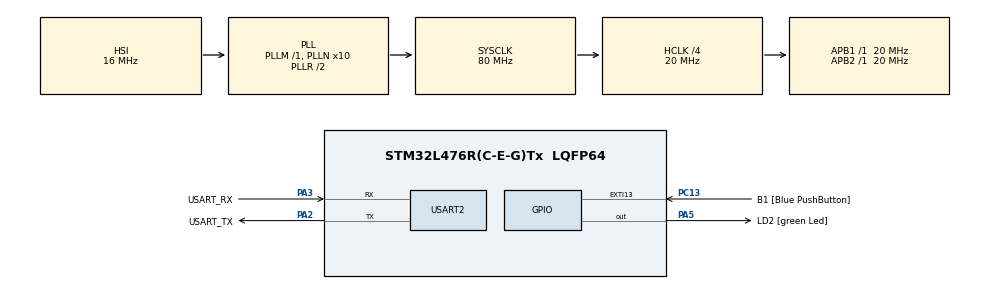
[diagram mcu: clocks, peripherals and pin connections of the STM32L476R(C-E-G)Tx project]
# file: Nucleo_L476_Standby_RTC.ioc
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Mcu.Family=STM32L4
RCC.MSI_VALUE=4000000
RCC.PLLSourceVirtual=RCC_PLLSOURCE_HSI
PA14\ (JTCK-SWCLK).Mode=Serial_Wire
PA2.GPIO_PuPd=GPIO_NOPULL
RCC.CortexFreq_Value=20000000
PH0-OSC_IN\ (PH0).Signal=RCC_OSC_IN
PC13.Signal=GPXTI13
PA3.GPIO_PuPd=GPIO_NOPULL
PA2.GPIO_Speed=GPIO_SPEED_FREQ_VERY_HIGH
VP_RTC_VS_RTC_Activate.Mode=RTC_Enabled
PC15-OSC32_OUT\ (PC15).Signal=RCC_OSC32_OUT
PC15-OSC32_OUT\ (PC15).Mode=LSE-External-Oscillator
PA14\ (JTCK-SWCLK).GPIO_Label=TCK
PB3\ (JTDO-TRACESWO).GPIO_Label=SWO
PC13.GPIO_Label=B1 [Blue PushButton]
PA3.GPIO_Speed=GPIO_SPEED_FREQ_VERY_HIGH
PH1-OSC_OUT\ (PH1).Signal=RCC_OSC_OUT
RCC.SYSCLKSource=RCC_SYSCLKSOURCE_PLLCLK
ProjectManager.StackSize=0x400
PB3\ (JTDO-TRACESWO).Signal=SYS_JTDO-SWO
PC14-OSC32_IN\ (PC14).Mode=LSE-External-Oscillator
PA14\ (JTCK-SWCLK).Signal=SYS_JTCK-SWCLK
PA3.Mode=Asynchronous
ProjectManager.TargetToolchain=STM32CubeIDE
PA3.GPIO_Mode=GPIO_MODE_AF_PP
RCC.HCLKFreq_Value=20000000
RCC.APB2TimFreq_Value=20000000
RCC.USBFreq_Value=64000000
RCC.AHBFreq_Value=20000000
RCC.PREFETCH_ENABLE=1
PA5.Signal=GPIO_Output
RCC.HSE_VALUE=8000000
board=NUCLEO-L476RG
USART2.VirtualMode-Asynchronous=VM_ASYNC
RCC.VCOOutputFreq_Value=160000000
RCC.APB2Freq_Value=20000000
PA5.GPIO_ModeDefaultOutputPP=GPIO_MODE_OUTPUT_PP
PA13\ (JTMS-SWDIO).GPIO_Label=TMS
PA5.GPIO_PuPd=GPIO_NOPULL
RCC.ADCFreq_Value=64000000
PC13.GPIO_PuPd=GPIO_NOPULL
RCC.AHBCLKDivider=RCC_SYSCLK_DIV4
Mcu.Name=STM32L476R(C-E-G)Tx
PA2.Signal=USART2_TX
PA13\ (JTMS-SWDIO).Mode=Serial_Wire
RCC.SYSCLKFreq_VALUE=80000000
Mcu.Package=LQFP64
PA5.GPIO_Label=LD2 [green Led]
PC13.GPIO_ModeDefaultEXTI=GPIO_MODE_IT_FALLING
PC14-OSC32_IN\ (PC14).Signal=RCC_OSC32_IN
PA2.GPIO_Label=USART_TX
ProjectManager.HeapSize=0x200
RCC.HSI_VALUE=16000000
PA5.GPIO_Speed=GPIO_SPEED_FREQ_LOW
NVIC.PriorityGroup=NVIC_PRIORITYGROUP_4
RCC.PLLN=10
RCC.APB1TimFreq_Value=20000000
PA2.Mode=Asynchronous
PA13\ (JTMS-SWDIO).Signal=SYS_JTMS-SWDIO
RCC.APB1Freq_Value=20000000
PA3.GPIO_Label=USART_RX
PA3.Signal=USART2_RX
PA2.GPIO_Mode=GPIO_MODE_AF_PP

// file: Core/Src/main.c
/* USER CODE BEGIN Header */
/**
  ******************************************************************************
  * @file           : main.c
  * @brief          : Main program body
  ******************************************************************************
  * @attention
  *
  * <h2><center>&copy; Copyright (c) 2021 STMicroelectronics.
  * All rights reserved.</center></h2>
  *
  * This software component is licensed by ST under BSD 3-Clause license,
  * the "License"; You may not use this file except in compliance with the
  * License. You may obtain a copy of the License at:
  *                        opensource.org/licenses/BSD-3-Clause
  *
  ******************************************************************************
  */
/* USER CODE END Header */
#include "main.h"

/* USER CODE BEGIN Includes */
#include <string.h>
#include <stdio.h>
/* USER CODE END Includes */

RTC_HandleTypeDef hrtc;

UART_HandleTypeDef huart2;

/* USER CODE BEGIN PV */
uint8_t ram_test = 0;
RTC_TimeTypeDef sTime1;
RTC_DateTypeDef sDate1;
/* USER CODE END PV */

void SystemClock_Config(void);
static void MX_GPIO_Init(void);
static void MX_USART2_UART_Init(void);
static void MX_RTC_Init(void);
/* USER CODE BEGIN PFP */
void start_RTC_date(RTC_HandleTypeDef *hrtc, RTC_TimeTypeDef *sTime, RTC_DateTypeDef *sDate);
void tx_RTC_date(RTC_HandleTypeDef *hrtc, RTC_TimeTypeDef *sTime, RTC_DateTypeDef *sDate);
/* USER CODE END PFP */

int main(void)
{

  /* MCU Configuration--------------------------------------------------------*/

  /* Reset of all peripherals, Initializes the Flash interface and the Systick. */
  HAL_Init();

  /* Configure the system clock */
  SystemClock_Config();

  /* Initialize all configured peripherals */
  MX_GPIO_Init();
  MX_USART2_UART_Init();
  MX_RTC_Init();
  /* USER CODE BEGIN 2 */

  /* Check and handle if the system was resumed from StandBy mode */
     if(__HAL_PWR_GET_FLAG(PWR_FLAG_SB) != RESET)
     {
       /* Clear Standby flag */
       __HAL_PWR_CLEAR_FLAG(PWR_FLAG_SB);

     } else {
    	 start_RTC_date(&hrtc, &sTime1, &sDate1);
     }
     tx_RTC_date(&hrtc, &sTime1, &sDate1);

     /* Reads data from backup register */
     ram_test = HAL_RTCEx_BKUPRead(&hrtc, RTC_BKP_DR10);
     if (ram_test == 15) {
		HAL_GPIO_WritePin(GPIOA, GPIO_PIN_5, GPIO_PIN_SET);
		HAL_Delay(1000);
		HAL_GPIO_WritePin(GPIOA, GPIO_PIN_5, GPIO_PIN_RESET);
     }

     /* Stores data into backup register */
     uint32_t data = 15;
     HAL_RTCEx_BKUPWrite(&hrtc, RTC_BKP_DR10, data);

     /* Insert 5 seconds delay */
     HAL_Delay(4000);

     /* The Following Wakeup sequence is highly recommended prior to each Standby mode entry
       mainly  when using more than one wakeup source this is to not miss any wakeup event.
       - Disable all used wakeup sources,
       - Clear all related wakeup flags,
       - Re-enable all used wakeup sources,
       - Enter the Standby mode.
     */
     /* Disable all used wakeup sources*/
     HAL_RTCEx_DeactivateWakeUpTimer(&hrtc);

     /* Clear all related wakeup flags */
     __HAL_PWR_CLEAR_FLAG(PWR_FLAG_WU);

     /* Re-enable all used wakeup sources*/
     /* ## Setting the Wake up time ############################################*/
     /* RTC Wakeup Interrupt Generation:
       the wake-up counter is set to its maximum value to yield the longuest
       stand-by time to let the current reach its lowest operating point.
       The maximum value is 0xFFFF, corresponding to about 33 sec. when
       RTC_WAKEUPCLOCK_RTCCLK_DIV = RTCCLK_Div16 = 16
       Wakeup Time Base = (RTC_WAKEUPCLOCK_RTCCLK_DIV /(LSI))
       Wakeup Time = Wakeup Time Base * WakeUpCounter
         = (RTC_WAKEUPCLOCK_RTCCLK_DIV /(LSI)) * WakeUpCounter
         ==> WakeUpCounter = Wakeup Time / Wakeup Time Base

       To configure the wake up timer to 60s the WakeUpCounter is set to 0xFFFF:
       Wakeup Time Base = 16 /(~32.000KHz) = ~0.5 ms
       Wakeup Time = 0.5 ms  * WakeUpCounter
       Therefore, with wake-up counter =  0xFFFF  = 65,535
          Wakeup Time =  0,5 ms *  65,535 = 32,7675 s ~ 33 sec. */
     HAL_RTCEx_SetWakeUpTimer_IT(&hrtc, 10, RTC_WAKEUPCLOCK_CK_SPRE_16BITS);

     /* Enter the Standby mode */
     HAL_PWR_EnterSTANDBYMode();
//     HAL_PWREx_EnterSHUTDOWNMode();
  /* USER CODE END 2 */

  /* Infinite loop */
  while (1)
  {

  }
}

void SystemClock_Config(void)
{
  RCC_OscInitTypeDef RCC_OscInitStruct = {0};
  RCC_ClkInitTypeDef RCC_ClkInitStruct = {0};
  RCC_PeriphCLKInitTypeDef PeriphClkInit = {0};

  /** Initializes the RCC Oscillators according to the specified parameters
  * in the RCC_OscInitTypeDef structure.
  */
  RCC_OscInitStruct.OscillatorType = RCC_OSCILLATORTYPE_HSI|RCC_OSCILLATORTYPE_LSI;
  RCC_OscInitStruct.HSIState = RCC_HSI_ON;
  RCC_OscInitStruct.HSICalibrationValue = RCC_HSICALIBRATION_DEFAULT;
  RCC_OscInitStruct.LSIState = RCC_LSI_ON;
  RCC_OscInitStruct.PLL.PLLState = RCC_PLL_ON;
  RCC_OscInitStruct.PLL.PLLSource = RCC_PLLSOURCE_HSI;
  RCC_OscInitStruct.PLL.PLLM = 1;
  RCC_OscInitStruct.PLL.PLLN = 10;
  RCC_OscInitStruct.PLL.PLLP = RCC_PLLP_DIV7;
  RCC_OscInitStruct.PLL.PLLQ = RCC_PLLQ_DIV2;
  RCC_OscInitStruct.PLL.PLLR = RCC_PLLR_DIV2;
  if (HAL_RCC_OscConfig(&RCC_OscInitStruct) != HAL_OK)
  {
    Error_Handler();
  }
  /** Initializes the CPU, AHB and APB buses clocks
  */
  RCC_ClkInitStruct.ClockType = RCC_CLOCKTYPE_HCLK|RCC_CLOCKTYPE_SYSCLK
                              |RCC_CLOCKTYPE_PCLK1|RCC_CLOCKTYPE_PCLK2;
  RCC_ClkInitStruct.SYSCLKSource = RCC_SYSCLKSOURCE_PLLCLK;
  RCC_ClkInitStruct.AHBCLKDivider = RCC_SYSCLK_DIV4;
  RCC_ClkInitStruct.APB1CLKDivider = RCC_HCLK_DIV1;
  RCC_ClkInitStruct.APB2CLKDivider = RCC_HCLK_DIV1;

  if (HAL_RCC_ClockConfig(&RCC_ClkInitStruct, FLASH_LATENCY_1) != HAL_OK)
  {
    Error_Handler();
  }
  PeriphClkInit.PeriphClockSelection = RCC_PERIPHCLK_RTC|RCC_PERIPHCLK_USART2;
  PeriphClkInit.Usart2ClockSelection = RCC_USART2CLKSOURCE_PCLK1;
  PeriphClkInit.RTCClockSelection = RCC_RTCCLKSOURCE_LSI;
  if (HAL_RCCEx_PeriphCLKConfig(&PeriphClkInit) != HAL_OK)
  {
    Error_Handler();
  }
  /** Configure the main internal regulator output voltage
  */
  if (HAL_PWREx_ControlVoltageScaling(PWR_REGULATOR_VOLTAGE_SCALE1) != HAL_OK)
  {
    Error_Handler();
  }
}

static void MX_RTC_Init(void)
{

  /** Initialize RTC Only
  */
  hrtc.Instance = RTC;
  hrtc.Init.HourFormat = RTC_HOURFORMAT_24;
  hrtc.Init.AsynchPrediv = 127;
  hrtc.Init.SynchPrediv = 255;
  hrtc.Init.OutPut = RTC_OUTPUT_DISABLE;
  hrtc.Init.OutPutRemap = RTC_OUTPUT_REMAP_NONE;
  hrtc.Init.OutPutPolarity = RTC_OUTPUT_POLARITY_HIGH;
  hrtc.Init.OutPutType = RTC_OUTPUT_TYPE_OPENDRAIN;
  if (HAL_RTC_Init(&hrtc) != HAL_OK)
  {
    Error_Handler();
  }

}

static void MX_USART2_UART_Init(void)
{

  huart2.Instance = USART2;
  huart2.Init.BaudRate = 115200;
  huart2.Init.WordLength = UART_WORDLENGTH_8B;
  huart2.Init.StopBits = UART_STOPBITS_1;
  huart2.Init.Parity = UART_PARITY_NONE;
  huart2.Init.Mode = UART_MODE_TX_RX;
  huart2.Init.HwFlowCtl = UART_HWCONTROL_NONE;
  huart2.Init.OverSampling = UART_OVERSAMPLING_16;
  huart2.Init.OneBitSampling = UART_ONE_BIT_SAMPLE_DISABLE;
  huart2.AdvancedInit.AdvFeatureInit = UART_ADVFEATURE_NO_INIT;
  if (HAL_UART_Init(&huart2) != HAL_OK)
  {
    Error_Handler();
  }

}

static void MX_GPIO_Init(void)
{
  GPIO_InitTypeDef GPIO_InitStruct = {0};

  /* GPIO Ports Clock Enable */
  __HAL_RCC_GPIOC_CLK_ENABLE();
  __HAL_RCC_GPIOH_CLK_ENABLE();
  __HAL_RCC_GPIOA_CLK_ENABLE();
  __HAL_RCC_GPIOB_CLK_ENABLE();

  /*Configure GPIO pin Output Level */
  HAL_GPIO_WritePin(LD2_GPIO_Port, LD2_Pin, GPIO_PIN_RESET);

  /*Configure GPIO pin : B1_Pin */
  GPIO_InitStruct.Pin = B1_Pin;
  GPIO_InitStruct.Mode = GPIO_MODE_IT_FALLING;
  GPIO_InitStruct.Pull = GPIO_NOPULL;
  HAL_GPIO_Init(B1_GPIO_Port, &GPIO_InitStruct);

  /*Configure GPIO pin : LD2_Pin */
  GPIO_InitStruct.Pin = LD2_Pin;
  GPIO_InitStruct.Mode = GPIO_MODE_OUTPUT_PP;
  GPIO_InitStruct.Pull = GPIO_NOPULL;
  GPIO_InitStruct.Speed = GPIO_SPEED_FREQ_LOW;
  HAL_GPIO_Init(LD2_GPIO_Port, &GPIO_InitStruct);

}

/* USER CODE BEGIN 4 */
void start_RTC_date(RTC_HandleTypeDef *hrtc, RTC_TimeTypeDef *sTime, RTC_DateTypeDef *sDate) {
	sDate->Date = 0x15;
	sDate->Month = 0x07;
	sDate->Year = 0x21;
	sTime->Hours = 0x12;
	sTime->Minutes = 0x00;
	sTime->SecondFraction = 0x00;
	HAL_RTC_SetTime(hrtc, sTime, RTC_FORMAT_BCD);
	HAL_RTC_SetDate(hrtc, sDate, RTC_FORMAT_BCD);
}

void tx_RTC_date(RTC_HandleTypeDef *hrtc, RTC_TimeTypeDef *sTime, RTC_DateTypeDef *sDate) {
	char buffer[21];

	HAL_RTC_GetTime(hrtc, sTime, RTC_FORMAT_BCD);
	HAL_RTC_GetDate(hrtc, sDate, RTC_FORMAT_BCD);

	buffer[0] = (sDate->Date / 16) + 48;
	buffer[1] = (sDate->Date % 16) + 48;
	buffer[2] = '.';
	buffer[3] = (sDate->Month / 16) + 48;
	buffer[4] = (sDate->Month % 16) + 48;
	buffer[5] = '.';
	buffer[6] = '2';
	buffer[7] = '0';
	buffer[8] = (sDate->Year / 16) + 48;
	buffer[9] = (sDate->Year % 16) + 48;
	buffer[10] ='@';
	buffer[11] = (sTime->Hours / 16) + 48;
	buffer[12] = (sTime->Hours % 16) + 48;
	buffer[13] = ':';
	buffer[14] = (sTime->Minutes / 16) + 48;
	buffer[15] = (sTime->Minutes % 16) + 48;
	buffer[16] = ':';
	buffer[17] = (sTime->Seconds / 16) + 48;
	buffer[18] = (sTime->Seconds % 16) + 48;
	buffer[19] = '\r';
	buffer[20] = '\n';

	HAL_UART_Transmit(&huart2, (uint8_t*)buffer, 21, 100);
}
/* USER CODE END 4 */

void Error_Handler(void)
{
  __disable_irq();
  while (1)
  {
  }
}

/************************ (C) COPYRIGHT STMicroelectronics *****END OF FILE****/
